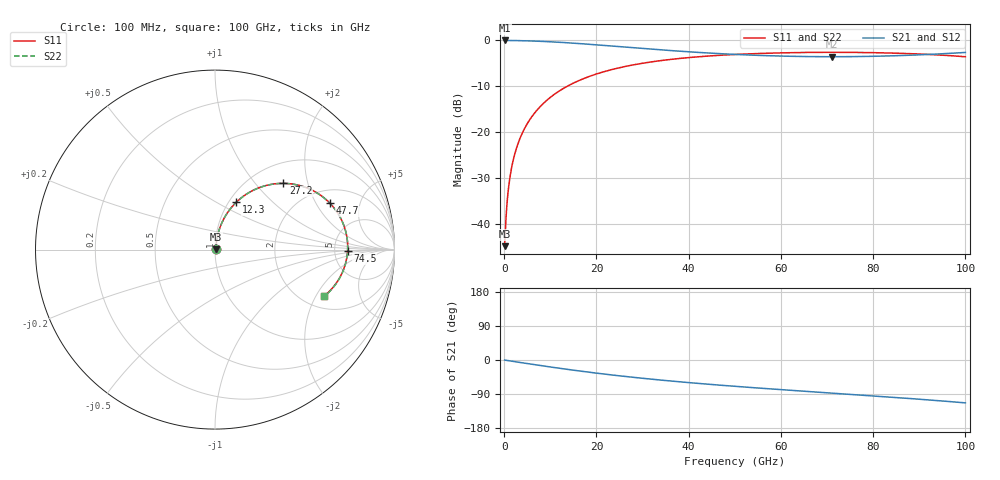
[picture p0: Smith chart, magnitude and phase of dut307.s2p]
! Touchstone file exported from HFSS 2026.1.0
!  File:  C:/ffzhzh/LocalFiles/Ansys_Project_Files/temp_train_RDL_307_1783502467_9504.aedt
!  Generated:  05:22:16 PM Jul  8, 2026
!  Design:  RDL
!  Project:  temp_train_RDL_307_1783502467_9504
! Variables:
!  h_bsmrdl = 2um
!  h_ox = 20um
!  h_rdl = 5um
!  h_sub = 80um
!  h_tmrdl = 2.33um
!  h_tsv = 80um
!  h_via = 3um
!  l_bsmrdl = 300um
!  l_sub = 791.13um
!  l_tmrdl = 391.13um
!  m_sub = 200um
!  pitch = 53.38um
!  r_tsv = 6um
!  s_tmrdl = 10um
!  w_bsmrdl = 18um
!  w_sub = 500um
!  w_tmrdl = 11.68um
!  x_tsv_center1 = 396.97um
!  x_tsv_center2 = 714.97um
!  x_tsv_center3 = 1117.78um
!  x_tsv_center4 = 1435.78um
!  x_tsv_center5 = 1838.59um
!  x_tsv_center6 = 2156.59um
# GHz S MA R 50.000000
! Terminal data exported
! Port[1] = TM_RDL1_1_T1
! Port[2] = TM_RDL1_1_T2
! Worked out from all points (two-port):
!   1000 points, 100 MHz to 100 GHz, reference 50 ohm
!   highest |S21| = -0.05 dB at 100 MHz (marker M1); lowest = -3.6 dB at 71.1 GHz (marker M2)
!   |S21| within 3 dB of the highest: start of sweep to 49.41 GHz; 92.81 GHz to end of sweep
!   lowest |S11| = -44.7 dB at 100 MHz (marker M3), VSWR 1.01, Z = 50.5 + j0.262 ohm
!   |S11| at or under -10 dB: start of sweep to 13.66 GHz
!   |S22| runs from -44.7 to -2.6 dB; largest |S21 - S12| = 1.3e-14
!   S11 on the Smith chart (normalised r, x): 100 MHz: 1.01, +0.01; 12.3 GHz: 1.08, +0.62; 27.2 GHz: 1.38, +1.42; 47.7 GHz: 2.68, +2.64; 74.5 GHz: 6.65, -0.21; 100 GHz: 2.57, -2.36
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0.1  0.005816 26.5  0.9948 -0.2  0.9948 -0.2  0.005816 26.5
! Gamma 0 0 0 0
! Port Impedance 50 0 50 0
0.4  0.01169 62.0  0.9946 -0.8  0.9946 -0.8  0.01169 62.0
0.9  0.02376 74.4  0.994 -1.7  0.994 -1.7  0.02376 74.4
1.4  0.03603 77.8  0.9934 -2.7  0.9934 -2.7  0.03603 77.8
2.2  0.0557 79.4  0.9922 -4.2  0.9922 -4.2  0.0557 79.4
3.3  0.0827 79.3  0.9901 -6.2  0.9901 -6.2  0.0827 79.3
4.9  0.1216 77.6  0.9857 -9.2  0.9857 -9.2  0.1216 77.6
6.9  0.1691 74.7  0.9783 -12.8  0.9783 -12.8  0.1692 74.7
9.4  0.2263 70.6  0.966 -17.3  0.966 -17.3  0.2263 70.6
12.3  0.2886 65.9  0.9485 -22.4  0.9485 -22.4  0.2886 65.8
16.8  0.3757 58.7  0.9165 -29.7  0.9165 -29.7  0.3757 58.7
21.6  0.455 51.6  0.8792 -37.0  0.8792 -37.0  0.455 51.6
27.2  0.5308 44.1  0.8356 -44.7  0.8356 -44.7  0.5308 44.0
33.4  0.5962 36.6  0.7907 -52.3  0.7907 -52.3  0.5962 36.5
47.7  0.691 21.9  0.7112 -67.3  0.7112 -67.3  0.691 21.8
50.1  0.7011 19.7  0.7016 -69.5  0.7016 -69.5  0.7011 19.6
66.7  0.738 5.7  0.6642 -83.8  0.6642 -83.8  0.7381 5.5
71.1  0.7397 2.2  0.6625 -87.4  0.6625 -87.4  0.7397 2.0
74.5  0.7388 -0.6  0.6635 -90.2  0.6635 -90.2  0.7388 -0.8
83.4  0.7272 -7.9  0.6758 -97.6  0.6758 -97.6  0.7272 -8.1
91.7  0.7028 -15.1  0.7001 -105.0  0.7001 -105.0  0.7028 -15.3
100  0.662 -22.9  0.7371 -113.2  0.7371 -113.2  0.662 -23.2
